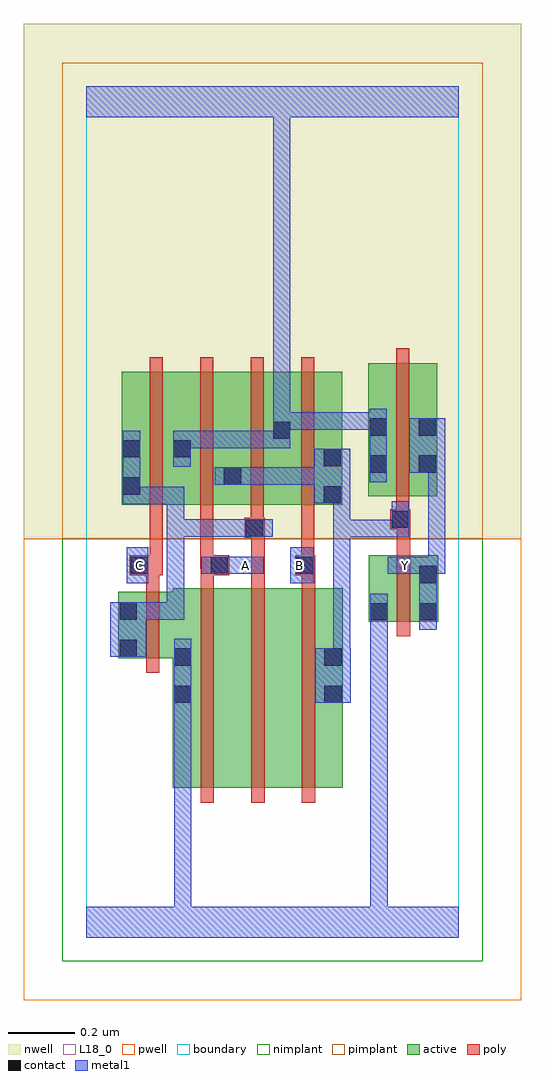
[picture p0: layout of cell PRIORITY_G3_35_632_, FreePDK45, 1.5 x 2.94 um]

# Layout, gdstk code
import gdstk
lib = gdstk.Library(unit=1e-6, precision=1e-09)
def R(c, l, rs):  # rectangles x0, y0, x1, y1
    for r in rs: c.add(gdstk.rectangle(r[:2], r[2:], *l))
def A(c, l, x, y, w, h, nx, ny, dx, dy):  # array of equal rectangles
    R(c, l, [(x+i*dx, y+j*dy, x+i*dx+w, y+j*dy+h) for i in range(nx) for j in range(ny)])
active = (1, 0)
pwell = (2, 0)
nwell = (3, 0)
nimplant = (4, 0)
pimplant = (5, 0)
poly = (9, 0)
contact = (10, 0)
metal1 = (11, 0)
L18_0 = (18, 0)
boundary = (235, 0)

priority_g3_35_632_ = lib.new_cell('PRIORITY_G3_35_632_')
A(priority_g3_35_632_, active, 0.106, 1.302, 0.06, 0.342, 3, 1, 0.152, 0)
R(priority_g3_35_632_, active, [(0.26,0.45,0.44,1.05), (0.26,0.45,0.32,1.04), (0.44,0.45,0.592,1.05), (0.592,0.45,0.772,1.05), (0.712,0.556,0.772,1.05), (0.096,0.84,0.156,1.04), (0.096,0.84,0.32,1.04), (0.85,0.95,0.91,1.15), (0.85,0.95,1.058,1.15), (0.998,0.95,1.058,1.15), (0.106,1.302,0.318,1.702), (0.258,1.302,0.47,1.702), (0.41,1.302,0.618,1.702), (0.558,1.302,0.618,1.644), (0.558,1.302,0.77,1.702), (0.71,1.302,0.77,1.644), (0.848,1.328,0.908,1.644), (0.848,1.328,1.056,1.728), (0.996,1.328,1.056,1.644)])
R(priority_g3_35_632_, pwell, [(-0.188,-0.188,1.308,1.2)])
R(priority_g3_35_632_, nwell, [(-0.188,1.2,1.308,2.748)])
R(priority_g3_35_632_, nimplant, [(-0.072,-0.072,1.192,1.2)])
R(priority_g3_35_632_, pimplant, [(-0.072,1.2,1.192,2.632)])
A(priority_g3_35_632_, poly, 0.344, 0.406, 0.04, 0.688, 3, 1, 0.152, 0)
A(priority_g3_35_632_, poly, 0.19, 1.258, 0.04, 0.488, 4, 1, 0.152, 0)
R(priority_g3_35_632_, poly, [(0.18,0.796,0.22,1.084), (0.934,0.906,0.974,1.194), (0.18,1.044,0.22,1.13), (0.344,1.054,0.384,1.13), (0.496,1.054,0.536,1.242), (0.648,1.054,0.688,1.13), (0.13,1.09,0.23,1.15), (0.18,1.09,0.22,1.13), (0.18,1.09,0.22,1.13), (0.344,1.09,0.43,1.15), (0.628,1.09,0.688,1.15), (0.19,1.11,0.23,1.298), (0.342,1.11,0.382,1.298), (0.342,1.11,0.384,1.15), (0.344,1.11,0.384,1.15), (0.646,1.11,0.686,1.15), (0.646,1.11,0.686,1.15), (0.646,1.11,0.686,1.298), (0.934,1.154,0.974,1.268), (0.476,1.202,0.536,1.262), (0.496,1.202,0.536,1.242), (0.496,1.202,0.536,1.242), (0.494,1.222,0.534,1.298), (0.914,1.228,0.974,1.288), (0.934,1.228,0.974,1.268), (0.934,1.228,0.974,1.268), (0.932,1.248,0.972,1.324), (0.932,1.284,0.972,1.772)])
R(priority_g3_35_632_, contact, [(0.264,0.706,0.316,0.758), (0.716,0.706,0.768,0.758), (0.264,0.818,0.316,0.87), (0.716,0.818,0.768,0.87), (0.1,0.844,0.152,0.896), (0.854,0.954,0.906,1.006), (1.002,0.954,1.054,1.006), (0.1,0.956,0.152,1.008), (1.002,1.066,1.054,1.118), (0.134,1.094,0.186,1.146), (0.374,1.094,0.426,1.146), (0.632,1.094,0.684,1.146), (0.48,1.206,0.532,1.258), (0.918,1.232,0.97,1.284), (0.714,1.306,0.766,1.358), (0.11,1.332,0.162,1.384), (0.414,1.362,0.466,1.414), (0.852,1.398,0.904,1.45), (1,1.398,1.052,1.45), (0.714,1.418,0.766,1.47), (0.11,1.444,0.162,1.496), (0.262,1.444,0.314,1.496), (0.562,1.5,0.614,1.552), (0.852,1.51,0.904,1.562), (1,1.51,1.052,1.562)])
R(priority_g3_35_632_, metal1, [(0,0,1.12,0.092), (0.264,0.04,0.316,0.73), (0.854,0.04,0.906,0.978), (0.264,0.678,0.316,0.73), (0.264,0.678,0.316,0.73), (0.264,0.678,0.316,0.73), (0.264,0.678,0.316,0.73), (0.264,0.678,0.316,0.73), (0.264,0.678,0.316,0.73), (0.264,0.678,0.316,0.73), (0.264,0.678,0.316,0.73), (0.264,0.678,0.316,0.898), (0.688,0.706,0.796,0.87), (0.742,0.818,0.794,1.256), (0.072,0.844,0.18,1.008), (0.854,0.926,0.906,0.978), (0.854,0.926,0.906,0.978), (0.854,0.926,0.906,0.978), (0.854,0.926,0.906,0.978), (0.854,0.926,0.906,0.978), (0.854,0.926,0.906,0.978), (0.854,0.926,0.906,0.978), (0.854,0.926,0.906,0.978), (0.854,0.926,0.906,0.978), (0.854,0.926,0.906,0.978), (0.854,0.926,0.906,0.978), (0.854,0.926,0.906,0.978), (0.854,0.926,0.906,0.978), (0.854,0.926,0.906,0.978), (0.854,0.926,0.906,0.978), (0.854,0.926,0.906,0.978), (0.854,0.926,0.906,1.034), (1.002,0.926,1.054,1.146), (0.128,0.956,0.18,1.008), (0.128,0.956,0.18,1.008), (0.128,0.956,0.294,1.008), (0.242,0.956,0.294,1.008), (0.242,0.956,0.294,1.008), (0.242,0.956,0.294,1.008), (0.242,0.956,0.294,1.258), (0.122,1.066,0.186,1.174), (0.614,1.066,0.684,1.174), (0.346,1.094,0.534,1.146), (0.906,1.094,1.08,1.146), (1.002,1.094,1.054,1.146), (1.028,1.094,1.08,1.45), (0.742,1.204,0.794,1.256), (0.742,1.204,0.794,1.256), (0.742,1.204,0.794,1.256), (0.742,1.204,0.794,1.256), (0.742,1.204,0.794,1.256), (0.742,1.204,0.97,1.256), (0.742,1.204,0.794,1.358), (0.918,1.204,0.97,1.312), (0.242,1.206,0.294,1.356), (0.242,1.206,0.296,1.258), (0.244,1.206,0.296,1.258), (0.244,1.206,0.296,1.258), (0.244,1.206,0.504,1.258), (0.452,1.206,0.504,1.258), (0.452,1.206,0.504,1.258), (0.452,1.206,0.56,1.258), (0.11,1.304,0.162,1.356), (0.11,1.304,0.162,1.356), (0.11,1.304,0.162,1.524), (0.11,1.304,0.294,1.356), (0.242,1.304,0.294,1.356), (0.686,1.306,0.794,1.47), (0.386,1.362,0.494,1.414), (0.442,1.362,0.494,1.414), (0.442,1.362,0.494,1.414), (0.442,1.362,0.614,1.414), (0.562,1.362,0.614,1.414), (0.562,1.362,0.614,1.414), (0.562,1.362,0.614,1.414), (0.562,1.362,0.738,1.414), (0.852,1.37,0.904,1.59), (0.972,1.398,1.08,1.562), (1.028,1.398,1.08,1.45), (1.028,1.398,1.08,1.45), (0.262,1.416,0.314,1.524), (0.262,1.472,0.314,1.524), (0.262,1.472,0.314,1.524), (0.262,1.472,0.428,1.524), (0.376,1.472,0.428,1.524), (0.376,1.472,0.428,1.524), (0.376,1.472,0.428,1.524), (0.376,1.472,0.614,1.524), (0.562,1.472,0.614,1.58), (0.562,1.528,0.614,1.58), (0.562,1.528,0.614,1.58), (0.562,1.528,0.724,1.58), (0.562,1.528,0.614,2.52), (0.672,1.528,0.724,1.58), (0.672,1.528,0.904,1.58), (0,2.468,1.12,2.56), (0.562,2.468,0.614,2.52), (0.562,2.468,0.614,2.52), (0.562,2.468,0.614,2.52), (0.562,2.468,0.614,2.52), (0.562,2.468,0.614,2.52), (0.562,2.468,0.614,2.52), (0.562,2.468,0.614,2.52), (0.562,2.468,0.614,2.52), (0.562,2.468,0.614,2.52), (0.562,2.468,0.614,2.52), (0.562,2.468,0.614,2.52), (0.562,2.468,0.614,2.52), (0.562,2.468,0.614,2.52), (0.562,2.468,0.614,2.52), (0.562,2.468,0.614,2.52), (0.562,2.468,0.614,2.52)])
R(priority_g3_35_632_, L18_0, [(0,0,1.12,0.092), (0.264,0.04,0.316,0.73), (0.854,0.04,0.906,0.978), (0.264,0.678,0.316,0.73), (0.264,0.678,0.316,0.73), (0.264,0.678,0.316,0.73), (0.264,0.678,0.316,0.73), (0.264,0.678,0.316,0.73), (0.264,0.678,0.316,0.73), (0.264,0.678,0.316,0.73), (0.264,0.678,0.316,0.73), (0.264,0.678,0.316,0.898), (0.854,0.926,0.906,0.978), (0.854,0.926,0.906,0.978), (0.854,0.926,0.906,0.978), (0.854,0.926,0.906,0.978), (0.854,0.926,0.906,0.978), (0.854,0.926,0.906,0.978), (0.854,0.926,0.906,0.978), (0.854,0.926,0.906,0.978), (0.854,0.926,0.906,0.978), (0.854,0.926,0.906,0.978), (0.854,0.926,0.906,0.978), (0.854,0.926,0.906,0.978), (0.854,0.926,0.906,0.978), (0.854,0.926,0.906,0.978), (0.854,0.926,0.906,0.978), (0.854,0.926,0.906,0.978), (0.854,0.926,0.906,1.034), (1.002,0.926,1.054,1.146), (0.122,1.066,0.186,1.174), (0.614,1.066,0.684,1.174), (0.134,1.094,0.186,1.146), (0.346,1.094,0.534,1.146), (0.454,1.094,0.506,1.146), (0.614,1.094,0.666,1.146), (0.906,1.094,1.08,1.146), (0.934,1.094,0.986,1.146), (1.002,1.094,1.054,1.146), (1.028,1.094,1.08,1.45), (0.852,1.37,0.904,1.59), (0.972,1.398,1.08,1.562), (1.028,1.398,1.08,1.45), (1.028,1.398,1.08,1.45), (0.262,1.416,0.314,1.524), (0.262,1.472,0.314,1.524), (0.262,1.472,0.314,1.524), (0.262,1.472,0.428,1.524), (0.376,1.472,0.428,1.524), (0.376,1.472,0.428,1.524), (0.376,1.472,0.428,1.524), (0.376,1.472,0.614,1.524), (0.562,1.472,0.614,1.58), (0.562,1.528,0.614,1.58), (0.562,1.528,0.614,1.58), (0.562,1.528,0.614,2.52), (0.562,1.528,0.724,1.58), (0.672,1.528,0.724,1.58), (0.672,1.528,0.904,1.58), (0,2.468,1.12,2.56), (0.562,2.468,0.614,2.52), (0.562,2.468,0.614,2.52), (0.562,2.468,0.614,2.52), (0.562,2.468,0.614,2.52), (0.562,2.468,0.614,2.52), (0.562,2.468,0.614,2.52), (0.562,2.468,0.614,2.52), (0.562,2.468,0.614,2.52), (0.562,2.468,0.614,2.52), (0.562,2.468,0.614,2.52), (0.562,2.468,0.614,2.52), (0.562,2.468,0.614,2.52), (0.562,2.468,0.614,2.52), (0.562,2.468,0.614,2.52), (0.562,2.468,0.614,2.52), (0.562,2.468,0.614,2.52)])
R(priority_g3_35_632_, boundary, [(0,0,1.12,2.56)])
priority_g3_35_632_.add(gdstk.Label('A', (0.48,1.12), layer=11, texttype=0))
priority_g3_35_632_.add(gdstk.Label('B', (0.64,1.12), layer=11, texttype=0))
priority_g3_35_632_.add(gdstk.Label('C', (0.16,1.12), layer=11, texttype=0))
priority_g3_35_632_.add(gdstk.Label('Y', (0.96,1.12), layer=11, texttype=0))

lib.write_gds('PRIORITY_G3_35_632_.gds')
